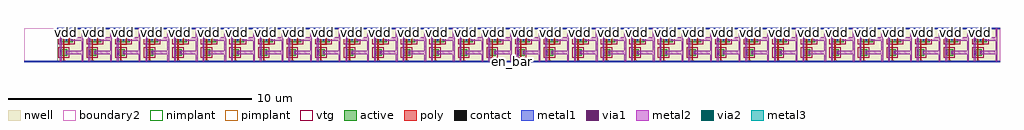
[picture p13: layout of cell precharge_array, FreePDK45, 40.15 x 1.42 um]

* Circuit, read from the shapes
.subckt precharge_array bl_0 bl_1 bl_10 bl_11 bl_12 bl_13 bl_14 bl_15 bl_16 bl_17 bl_18 bl_19 bl_2 bl_20 bl_21 bl_22 bl_23 bl_24 bl_25 bl_26 bl_27 bl_28 bl_29 bl_3 bl_30 bl_31 bl_32 bl_4 bl_5 bl_6 bl_7 bl_8 bl_9 br_0 br_1 br_10 br_11 br_12 br_13 br_14 br_15 br_16 br_17 br_18 br_19 br_2 br_20 br_21 br_22 br_23 br_24 br_25 br_26 br_27 br_28 br_29 br_3 br_30 br_31 br_32 br_4 br_5 br_6 br_7 br_8 br_9 en_bar vdd
M1 br_0 en_bar bl_0 vdd pfet w=0.27u l=0.05u
M2 vdd en_bar bl_0 vdd pfet w=0.27u l=0.05u
M3 br_0 en_bar vdd vdd pfet w=0.27u l=0.05u
M4 br_1 en_bar bl_1 vdd pfet w=0.27u l=0.05u
M5 vdd en_bar bl_1 vdd pfet w=0.27u l=0.05u
M6 br_1 en_bar vdd vdd pfet w=0.27u l=0.05u
M7 br_2 en_bar bl_2 vdd pfet w=0.27u l=0.05u
M8 vdd en_bar bl_2 vdd pfet w=0.27u l=0.05u
M9 br_2 en_bar vdd vdd pfet w=0.27u l=0.05u
M10 br_3 en_bar bl_3 vdd pfet w=0.27u l=0.05u
M11 vdd en_bar bl_3 vdd pfet w=0.27u l=0.05u
M12 br_3 en_bar vdd vdd pfet w=0.27u l=0.05u
M13 br_4 en_bar bl_4 vdd pfet w=0.27u l=0.05u
M14 vdd en_bar bl_4 vdd pfet w=0.27u l=0.05u
M15 br_4 en_bar vdd vdd pfet w=0.27u l=0.05u
M16 br_5 en_bar bl_5 vdd pfet w=0.27u l=0.05u
M17 vdd en_bar bl_5 vdd pfet w=0.27u l=0.05u
M18 br_5 en_bar vdd vdd pfet w=0.27u l=0.05u
M19 br_6 en_bar bl_6 vdd pfet w=0.27u l=0.05u
M20 vdd en_bar bl_6 vdd pfet w=0.27u l=0.05u
M21 br_6 en_bar vdd vdd pfet w=0.27u l=0.05u
M22 br_7 en_bar bl_7 vdd pfet w=0.27u l=0.05u
M23 vdd en_bar bl_7 vdd pfet w=0.27u l=0.05u
M24 br_7 en_bar vdd vdd pfet w=0.27u l=0.05u
M25 br_8 en_bar bl_8 vdd pfet w=0.27u l=0.05u
M26 vdd en_bar bl_8 vdd pfet w=0.27u l=0.05u
M27 br_8 en_bar vdd vdd pfet w=0.27u l=0.05u
M28 br_9 en_bar bl_9 vdd pfet w=0.27u l=0.05u
M29 vdd en_bar bl_9 vdd pfet w=0.27u l=0.05u
M30 br_9 en_bar vdd vdd pfet w=0.27u l=0.05u
M31 br_10 en_bar bl_10 vdd pfet w=0.27u l=0.05u
M32 vdd en_bar bl_10 vdd pfet w=0.27u l=0.05u
M33 br_10 en_bar vdd vdd pfet w=0.27u l=0.05u
M34 br_11 en_bar bl_11 vdd pfet w=0.27u l=0.05u
M35 vdd en_bar bl_11 vdd pfet w=0.27u l=0.05u
M36 br_11 en_bar vdd vdd pfet w=0.27u l=0.05u
M37 br_12 en_bar bl_12 vdd pfet w=0.27u l=0.05u
M38 vdd en_bar bl_12 vdd pfet w=0.27u l=0.05u
M39 br_12 en_bar vdd vdd pfet w=0.27u l=0.05u
M40 br_13 en_bar bl_13 vdd pfet w=0.27u l=0.05u
M41 vdd en_bar bl_13 vdd pfet w=0.27u l=0.05u
M42 br_13 en_bar vdd vdd pfet w=0.27u l=0.05u
M43 br_14 en_bar bl_14 vdd pfet w=0.27u l=0.05u
M44 vdd en_bar bl_14 vdd pfet w=0.27u l=0.05u
M45 br_14 en_bar vdd vdd pfet w=0.27u l=0.05u
M46 br_15 en_bar bl_15 vdd pfet w=0.27u l=0.05u
M47 vdd en_bar bl_15 vdd pfet w=0.27u l=0.05u
M48 br_15 en_bar vdd vdd pfet w=0.27u l=0.05u
M49 br_16 en_bar bl_16 vdd pfet w=0.27u l=0.05u
M50 vdd en_bar bl_16 vdd pfet w=0.27u l=0.05u
M51 br_16 en_bar vdd vdd pfet w=0.27u l=0.05u
M52 br_17 en_bar bl_17 vdd pfet w=0.27u l=0.05u
M53 vdd en_bar bl_17 vdd pfet w=0.27u l=0.05u
M54 br_17 en_bar vdd vdd pfet w=0.27u l=0.05u
M55 br_18 en_bar bl_18 vdd pfet w=0.27u l=0.05u
M56 vdd en_bar bl_18 vdd pfet w=0.27u l=0.05u
M57 br_18 en_bar vdd vdd pfet w=0.27u l=0.05u
M58 br_19 en_bar bl_19 vdd pfet w=0.27u l=0.05u
M59 vdd en_bar bl_19 vdd pfet w=0.27u l=0.05u
M60 br_19 en_bar vdd vdd pfet w=0.27u l=0.05u
M61 br_20 en_bar bl_20 vdd pfet w=0.27u l=0.05u
M62 vdd en_bar bl_20 vdd pfet w=0.27u l=0.05u
M63 br_20 en_bar vdd vdd pfet w=0.27u l=0.05u
M64 br_21 en_bar bl_21 vdd pfet w=0.27u l=0.05u
M65 vdd en_bar bl_21 vdd pfet w=0.27u l=0.05u
M66 br_21 en_bar vdd vdd pfet w=0.27u l=0.05u
M67 br_22 en_bar bl_22 vdd pfet w=0.27u l=0.05u
M68 vdd en_bar bl_22 vdd pfet w=0.27u l=0.05u
M69 br_22 en_bar vdd vdd pfet w=0.27u l=0.05u
M70 br_23 en_bar bl_23 vdd pfet w=0.27u l=0.05u
M71 vdd en_bar bl_23 vdd pfet w=0.27u l=0.05u
M72 br_23 en_bar vdd vdd pfet w=0.27u l=0.05u
M73 br_24 en_bar bl_24 vdd pfet w=0.27u l=0.05u
M74 vdd en_bar bl_24 vdd pfet w=0.27u l=0.05u
M75 br_24 en_bar vdd vdd pfet w=0.27u l=0.05u
M76 br_25 en_bar bl_25 vdd pfet w=0.27u l=0.05u
M77 vdd en_bar bl_25 vdd pfet w=0.27u l=0.05u
M78 br_25 en_bar vdd vdd pfet w=0.27u l=0.05u
M79 br_26 en_bar bl_26 vdd pfet w=0.27u l=0.05u
M80 vdd en_bar bl_26 vdd pfet w=0.27u l=0.05u
M81 br_26 en_bar vdd vdd pfet w=0.27u l=0.05u
M82 br_27 en_bar bl_27 vdd pfet w=0.27u l=0.05u
M83 vdd en_bar bl_27 vdd pfet w=0.27u l=0.05u
M84 br_27 en_bar vdd vdd pfet w=0.27u l=0.05u
M85 br_28 en_bar bl_28 vdd pfet w=0.27u l=0.05u
M86 vdd en_bar bl_28 vdd pfet w=0.27u l=0.05u
M87 br_28 en_bar vdd vdd pfet w=0.27u l=0.05u
M88 br_29 en_bar bl_29 vdd pfet w=0.27u l=0.05u
M89 vdd en_bar bl_29 vdd pfet w=0.27u l=0.05u
M90 br_29 en_bar vdd vdd pfet w=0.27u l=0.05u
M91 br_30 en_bar bl_30 vdd pfet w=0.27u l=0.05u
M92 vdd en_bar bl_30 vdd pfet w=0.27u l=0.05u
M93 br_30 en_bar vdd vdd pfet w=0.27u l=0.05u
M94 br_31 en_bar bl_31 vdd pfet w=0.27u l=0.05u
M95 vdd en_bar bl_31 vdd pfet w=0.27u l=0.05u
M96 br_31 en_bar vdd vdd pfet w=0.27u l=0.05u
M97 br_32 en_bar bl_32 vdd pfet w=0.27u l=0.05u
M98 vdd en_bar bl_32 vdd pfet w=0.27u l=0.05u
M99 br_32 en_bar vdd vdd pfet w=0.27u l=0.05u
.ends

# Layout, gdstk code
import gdstk
lib = gdstk.Library(unit=1e-6, precision=5e-10)
def R(c, l, rs):  # rectangles x0, y0, x1, y1
    for r in rs: c.add(gdstk.rectangle(r[:2], r[2:], *l))
def A(c, l, x, y, w, h, nx, ny, dx, dy):  # array of equal rectangles
    R(c, l, [(x+i*dx, y+j*dy, x+i*dx+w, y+j*dy+h) for i in range(nx) for j in range(ny)])
active = (1, 0)
nwell = (3, 0)
nimplant = (4, 0)
pimplant = (5, 0)
vtg = (6, 0)
poly = (9, 0)
contact = (10, 0)
metal1 = (11, 0)
via1 = (12, 0)
metal2 = (13, 0)
via2 = (14, 0)
metal3 = (15, 0)
boundary2 = (239, 0)

contact_10 = lib.new_cell('contact_10')
R(contact_10, active, [(0,0.0225,0.09,0.1125)])
R(contact_10, nwell, [(-0.055,-0.0325,0.145,0.1675)])
R(contact_10, pimplant, [(0,0.0225,0.09,0.1125)])
R(contact_10, contact, [(0.0125,0.035,0.0775,0.1)])
R(contact_10, metal1, [(0.0125,0,0.0775,0.135)])
R(contact_10, boundary2, [(-0.055,-0.0325,0.145,0.1675)])

pmos_m1_w0_270_sm1_dm1 = lib.new_cell('pmos_m1_w0_270_sm1_dm1')
R(pmos_m1_w0_270_sm1_dm1, active, [(0,0,0.305,0.27)])
R(pmos_m1_w0_270_sm1_dm1, nwell, [(-0.08,-0.08,0.385,0.35)])
R(pmos_m1_w0_270_sm1_dm1, pimplant, [(0,0,0.305,0.27)])
R(pmos_m1_w0_270_sm1_dm1, vtg, [(-0.08,-0.08,0.385,0.35)])
R(pmos_m1_w0_270_sm1_dm1, poly, [(0.1275,-0.055,0.1775,0.325), (0.1275,-0.055,0.1775,0.325)])
R(pmos_m1_w0_270_sm1_dm1, metal1, [(0.0125,0.0675,0.0775,0.2025), (0.2275,0.0675,0.2925,0.2025)])
R(pmos_m1_w0_270_sm1_dm1, boundary2, [(-0.08,-0.08,0.385,0.35)])
pmos_m1_w0_270_sm1_dm1.add(gdstk.Reference(contact_10, (0,0.0675)))
pmos_m1_w0_270_sm1_dm1.add(gdstk.Reference(contact_10, (0.215,0.0675)))
pmos_m1_w0_270_sm1_dm1.add(gdstk.Label('G', (0.1525,0.135), layer=9, texttype=0))
pmos_m1_w0_270_sm1_dm1.add(gdstk.Label('S', (0.045,0.135), layer=11, texttype=0))
pmos_m1_w0_270_sm1_dm1.add(gdstk.Label('D', (0.26,0.135), layer=11, texttype=0))

contact_13 = lib.new_cell('contact_13')
R(contact_13, poly, [(0.03,0,0.105,0.075)])
R(contact_13, contact, [(0.035,0.005,0.1,0.07)])
R(contact_13, metal1, [(0,0.005,0.135,0.07)])
R(contact_13, boundary2, [(0,0,0.135,0.075)])

contact_20 = lib.new_cell('contact_20')
R(contact_20, active, [(0.0225,0,0.1125,0.09)])
R(contact_20, nwell, [(-0.0325,-0.055,0.1675,0.145)])
R(contact_20, nimplant, [(0.0225,0,0.1125,0.09)])
R(contact_20, contact, [(0.035,0.0125,0.1,0.0775)])
R(contact_20, metal1, [(0,0.0125,0.135,0.0775)])
R(contact_20, boundary2, [(-0.0325,-0.055,0.1675,0.145)])

contact_16 = lib.new_cell('contact_16')
R(contact_16, metal1, [(0,0.035,0.135,0.1)])
R(contact_16, via1, [(0.035,0.035,0.1,0.1)])
R(contact_16, metal2, [(0.0325,0,0.1025,0.135)])
R(contact_16, boundary2, [(0,0,0.135,0.135)])

contact_21 = lib.new_cell('contact_21')
R(contact_21, metal1, [(0.0025,0,0.0675,0.135)])
R(contact_21, via1, [(0.0025,0.035,0.0675,0.1)])
R(contact_21, metal2, [(0,0,0.07,0.135)])
R(contact_21, boundary2, [(0,0,0.07,0.135)])

contact_22 = lib.new_cell('contact_22')
R(contact_22, metal2, [(0,0,0.07,0.135)])
R(contact_22, via2, [(0.0025,0.035,0.0675,0.1)])
R(contact_22, metal3, [(0,0,0.07,0.135)])
R(contact_22, boundary2, [(0,0,0.07,0.135)])

precharge_0 = lib.new_cell('precharge_0')
R(precharge_0, nwell, [(0,0,1.175,1.34)])
R(precharge_0, poly, [(0.24,-0.0375,0.29,0.0125), (0.265,-0.0375,0.29,0.0125), (0.24,-0.0125,0.29,0.165), (0.24,0.545,0.29,0.715), (0.24,0.665,0.505,0.715)])
R(precharge_0, metal1, [(0,-0.045,1.175,0.02), (0.34,0.8725,0.405,0.9375), (0.34,0.905,0.405,1.34), (0,1.3075,1.175,1.3725)])
R(precharge_0, metal2, [(0.105,0,0.175,1.34), (0.105,0,0.175,1.34), (1,0,1.07,1.34), (1,0,1.07,1.34), (0.14,0.2875,0.1575,0.4225), (0.3725,0.2875,1.035,0.4225), (0.14,0.8375,0.1575,0.9725), (0.5875,0.8375,1.035,0.9725)])
R(precharge_0, metal3, [(0.3375,1.1175,0.4075,1.2525)])
R(precharge_0, boundary2, [(0,0,1.175,1.34)])
precharge_0.add(gdstk.Reference(pmos_m1_w0_270_sm1_dm1, (0.1125,0.22)))
precharge_0.add(gdstk.Reference(pmos_m1_w0_270_sm1_dm1, (0.1125,0.77)))
precharge_0.add(gdstk.Reference(pmos_m1_w0_270_sm1_dm1, (0.3275,0.77)))
precharge_0.add(gdstk.Reference(contact_13, (0.2225,-0.05)))
precharge_0.add(gdstk.Reference(contact_20, (0.305,1.14)))
precharge_0.add(gdstk.Reference(contact_16, (0.305,1.1175)))
precharge_0.add(gdstk.Reference(contact_21, (0.3375,1.1175)))
precharge_0.add(gdstk.Reference(contact_22, (0.3375,1.1175)))
precharge_0.add(gdstk.Reference(contact_21, (0.1225,0.2875)))
precharge_0.add(gdstk.Reference(contact_21, (0.3375,0.2875)))
precharge_0.add(gdstk.Reference(contact_21, (0.1225,0.8375)))
precharge_0.add(gdstk.Reference(contact_21, (0.5525,0.8375)))
precharge_0.add(gdstk.Label('en_bar', (0.5875,-0.0125), layer=11, texttype=0))
precharge_0.add(gdstk.Label('vdd', (0.3725,1.185), layer=15, texttype=0))
precharge_0.add(gdstk.Label('bl', (0.14,0.67), layer=13, texttype=0))
precharge_0.add(gdstk.Label('br', (1.035,0.67), layer=13, texttype=0))

precharge_array = lib.new_cell('precharge_array')
A(precharge_array, metal1, 1.925, -0.045, 0.065, 0.065, 33, 1, 1.175, 0)
R(precharge_array, metal1, [(0,-0.045,40.145,0.02)])
R(precharge_array, metal2, [(1.475,0,1.545,1.34), (2.37,0,2.44,1.34), (2.65,0,2.72,1.34), (3.545,0,3.615,1.34), (3.825,0,3.895,1.34), (4.72,0,4.79,1.34), (5,0,5.07,1.34), (5.895,0,5.965,1.34), (6.175,0,6.245,1.34), (7.07,0,7.14,1.34), (7.35,0,7.42,1.34), (8.245,0,8.315,1.34), (8.525,0,8.595,1.34), (9.42,0,9.49,1.34), (9.7,0,9.77,1.34), (10.595,0,10.665,1.34), (10.875,0,10.945,1.34), (11.77,0,11.84,1.34), (12.05,0,12.12,1.34), (12.945,0,13.015,1.34), (13.225,0,13.295,1.34), (14.12,0,14.19,1.34), (14.4,0,14.47,1.34), (15.295,0,15.365,1.34), (15.575,0,15.645,1.34), (16.47,0,16.54,1.34), (16.75,0,16.82,1.34), (17.645,0,17.715,1.34), (17.925,0,17.995,1.34), (18.82,0,18.89,1.34), (19.1,0,19.17,1.34), (19.995,0,20.065,1.34), (20.275,0,20.345,1.34), (21.17,0,21.24,1.34), (21.45,0,21.52,1.34), (22.345,0,22.415,1.34), (22.625,0,22.695,1.34), (23.52,0,23.59,1.34), (23.8,0,23.87,1.34), (24.695,0,24.765,1.34), (24.975,0,25.045,1.34), (25.87,0,25.94,1.34), (26.15,0,26.22,1.34), (27.045,0,27.115,1.34), (27.325,0,27.395,1.34), (28.22,0,28.29,1.34), (28.5,0,28.57,1.34), (29.395,0,29.465,1.34), (29.675,0,29.745,1.34), (30.57,0,30.64,1.34), (30.85,0,30.92,1.34), (31.745,0,31.815,1.34), (32.025,0,32.095,1.34), (32.92,0,32.99,1.34), (33.2,0,33.27,1.34), (34.095,0,34.165,1.34), (34.375,0,34.445,1.34), (35.27,0,35.34,1.34), (35.55,0,35.62,1.34), (36.445,0,36.515,1.34), (36.725,0,36.795,1.34), (37.62,0,37.69,1.34), (37.9,0,37.97,1.34), (38.795,0,38.865,1.34), (39.075,0,39.145,1.34), (39.97,0,40.04,1.34)])
A(precharge_array, metal3, 1.7075, 1.1175, 0.07, 0.135, 33, 1, 1.175, 0)
R(precharge_array, boundary2, [(0,0,40.145,1.34)])
precharge_array.add(gdstk.Reference(precharge_0, (1.37,0)))
precharge_array.add(gdstk.Reference(precharge_0, (2.545,0)))
precharge_array.add(gdstk.Reference(precharge_0, (3.72,0)))
precharge_array.add(gdstk.Reference(precharge_0, (4.895,0)))
precharge_array.add(gdstk.Reference(precharge_0, (6.07,0)))
precharge_array.add(gdstk.Reference(precharge_0, (7.245,0)))
precharge_array.add(gdstk.Reference(precharge_0, (8.42,0)))
precharge_array.add(gdstk.Reference(precharge_0, (9.595,0)))
precharge_array.add(gdstk.Reference(precharge_0, (10.77,0)))
precharge_array.add(gdstk.Reference(precharge_0, (11.945,0)))
precharge_array.add(gdstk.Reference(precharge_0, (13.12,0)))
precharge_array.add(gdstk.Reference(precharge_0, (14.295,0)))
precharge_array.add(gdstk.Reference(precharge_0, (15.47,0)))
precharge_array.add(gdstk.Reference(precharge_0, (16.645,0)))
precharge_array.add(gdstk.Reference(precharge_0, (17.82,0)))
precharge_array.add(gdstk.Reference(precharge_0, (18.995,0)))
precharge_array.add(gdstk.Reference(precharge_0, (20.17,0)))
precharge_array.add(gdstk.Reference(precharge_0, (21.345,0)))
precharge_array.add(gdstk.Reference(precharge_0, (22.52,0)))
precharge_array.add(gdstk.Reference(precharge_0, (23.695,0)))
precharge_array.add(gdstk.Reference(precharge_0, (24.87,0)))
precharge_array.add(gdstk.Reference(precharge_0, (26.045,0)))
precharge_array.add(gdstk.Reference(precharge_0, (27.22,0)))
precharge_array.add(gdstk.Reference(precharge_0, (28.395,0)))
precharge_array.add(gdstk.Reference(precharge_0, (29.57,0)))
precharge_array.add(gdstk.Reference(precharge_0, (30.745,0)))
precharge_array.add(gdstk.Reference(precharge_0, (31.92,0)))
precharge_array.add(gdstk.Reference(precharge_0, (33.095,0)))
precharge_array.add(gdstk.Reference(precharge_0, (34.27,0)))
precharge_array.add(gdstk.Reference(precharge_0, (35.445,0)))
precharge_array.add(gdstk.Reference(precharge_0, (36.62,0)))
precharge_array.add(gdstk.Reference(precharge_0, (37.795,0)))
precharge_array.add(gdstk.Reference(precharge_0, (38.97,0)))
precharge_array.add(gdstk.Label('en_bar', (20.0725,-0.0125), layer=11, texttype=0))
precharge_array.add(gdstk.Label('vdd', (15.8425,1.185), layer=15, texttype=0))
precharge_array.add(gdstk.Label('vdd', (24.0675,1.185), layer=15, texttype=0))
precharge_array.add(gdstk.Label('vdd', (28.7675,1.185), layer=15, texttype=0))
precharge_array.add(gdstk.Label('vdd', (7.6175,1.185), layer=15, texttype=0))
precharge_array.add(gdstk.Label('vdd', (32.2925,1.185), layer=15, texttype=0))
precharge_array.add(gdstk.Label('vdd', (38.1675,1.185), layer=15, texttype=0))
precharge_array.add(gdstk.Label('vdd', (21.7175,1.185), layer=15, texttype=0))
precharge_array.add(gdstk.Label('vdd', (20.5425,1.185), layer=15, texttype=0))
precharge_array.add(gdstk.Label('vdd', (22.8925,1.185), layer=15, texttype=0))
precharge_array.add(gdstk.Label('vdd', (34.6425,1.185), layer=15, texttype=0))
precharge_array.add(gdstk.Label('vdd', (39.3425,1.185), layer=15, texttype=0))
precharge_array.add(gdstk.Label('vdd', (5.2675,1.185), layer=15, texttype=0))
precharge_array.add(gdstk.Label('vdd', (17.0175,1.185), layer=15, texttype=0))
precharge_array.add(gdstk.Label('vdd', (2.9175,1.185), layer=15, texttype=0))
precharge_array.add(gdstk.Label('vdd', (8.7925,1.185), layer=15, texttype=0))
precharge_array.add(gdstk.Label('vdd', (9.9675,1.185), layer=15, texttype=0))
precharge_array.add(gdstk.Label('vdd', (26.4175,1.185), layer=15, texttype=0))
precharge_array.add(gdstk.Label('vdd', (14.6675,1.185), layer=15, texttype=0))
precharge_array.add(gdstk.Label('vdd', (29.9425,1.185), layer=15, texttype=0))
precharge_array.add(gdstk.Label('vdd', (18.1925,1.185), layer=15, texttype=0))
precharge_array.add(gdstk.Label('vdd', (35.8175,1.185), layer=15, texttype=0))
precharge_array.add(gdstk.Label('vdd', (25.2425,1.185), layer=15, texttype=0))
precharge_array.add(gdstk.Label('vdd', (31.1175,1.185), layer=15, texttype=0))
precharge_array.add(gdstk.Label('vdd', (36.9925,1.185), layer=15, texttype=0))
precharge_array.add(gdstk.Label('vdd', (11.1425,1.185), layer=15, texttype=0))
precharge_array.add(gdstk.Label('vdd', (13.4925,1.185), layer=15, texttype=0))
precharge_array.add(gdstk.Label('vdd', (6.4425,1.185), layer=15, texttype=0))
precharge_array.add(gdstk.Label('vdd', (12.3175,1.185), layer=15, texttype=0))
precharge_array.add(gdstk.Label('vdd', (33.4675,1.185), layer=15, texttype=0))
precharge_array.add(gdstk.Label('vdd', (19.3675,1.185), layer=15, texttype=0))
precharge_array.add(gdstk.Label('vdd', (4.0925,1.185), layer=15, texttype=0))
precharge_array.add(gdstk.Label('vdd', (27.5925,1.185), layer=15, texttype=0))
precharge_array.add(gdstk.Label('vdd', (1.7425,1.185), layer=15, texttype=0))
precharge_array.add(gdstk.Label('bl_0', (1.51,0.67), layer=13, texttype=0))
precharge_array.add(gdstk.Label('br_0', (2.405,0.67), layer=13, texttype=0))
precharge_array.add(gdstk.Label('bl_1', (2.685,0.67), layer=13, texttype=0))
precharge_array.add(gdstk.Label('br_1', (3.58,0.67), layer=13, texttype=0))
precharge_array.add(gdstk.Label('bl_2', (3.86,0.67), layer=13, texttype=0))
precharge_array.add(gdstk.Label('br_2', (4.755,0.67), layer=13, texttype=0))
precharge_array.add(gdstk.Label('bl_3', (5.035,0.67), layer=13, texttype=0))
precharge_array.add(gdstk.Label('br_3', (5.93,0.67), layer=13, texttype=0))
precharge_array.add(gdstk.Label('bl_4', (6.21,0.67), layer=13, texttype=0))
precharge_array.add(gdstk.Label('br_4', (7.105,0.67), layer=13, texttype=0))
precharge_array.add(gdstk.Label('bl_5', (7.385,0.67), layer=13, texttype=0))
precharge_array.add(gdstk.Label('br_5', (8.28,0.67), layer=13, texttype=0))
precharge_array.add(gdstk.Label('bl_6', (8.56,0.67), layer=13, texttype=0))
precharge_array.add(gdstk.Label('br_6', (9.455,0.67), layer=13, texttype=0))
precharge_array.add(gdstk.Label('bl_7', (9.735,0.67), layer=13, texttype=0))
precharge_array.add(gdstk.Label('br_7', (10.63,0.67), layer=13, texttype=0))
precharge_array.add(gdstk.Label('bl_8', (10.91,0.67), layer=13, texttype=0))
precharge_array.add(gdstk.Label('br_8', (11.805,0.67), layer=13, texttype=0))
precharge_array.add(gdstk.Label('bl_9', (12.085,0.67), layer=13, texttype=0))
precharge_array.add(gdstk.Label('br_9', (12.98,0.67), layer=13, texttype=0))
precharge_array.add(gdstk.Label('bl_10', (13.26,0.67), layer=13, texttype=0))
precharge_array.add(gdstk.Label('br_10', (14.155,0.67), layer=13, texttype=0))
precharge_array.add(gdstk.Label('bl_11', (14.435,0.67), layer=13, texttype=0))
precharge_array.add(gdstk.Label('br_11', (15.33,0.67), layer=13, texttype=0))
precharge_array.add(gdstk.Label('bl_12', (15.61,0.67), layer=13, texttype=0))
precharge_array.add(gdstk.Label('br_12', (16.505,0.67), layer=13, texttype=0))
precharge_array.add(gdstk.Label('bl_13', (16.785,0.67), layer=13, texttype=0))
precharge_array.add(gdstk.Label('br_13', (17.68,0.67), layer=13, texttype=0))
precharge_array.add(gdstk.Label('bl_14', (17.96,0.67), layer=13, texttype=0))
precharge_array.add(gdstk.Label('br_14', (18.855,0.67), layer=13, texttype=0))
precharge_array.add(gdstk.Label('bl_15', (19.135,0.67), layer=13, texttype=0))
precharge_array.add(gdstk.Label('br_15', (20.03,0.67), layer=13, texttype=0))
precharge_array.add(gdstk.Label('bl_16', (20.31,0.67), layer=13, texttype=0))
precharge_array.add(gdstk.Label('br_16', (21.205,0.67), layer=13, texttype=0))
precharge_array.add(gdstk.Label('bl_17', (21.485,0.67), layer=13, texttype=0))
precharge_array.add(gdstk.Label('br_17', (22.38,0.67), layer=13, texttype=0))
precharge_array.add(gdstk.Label('bl_18', (22.66,0.67), layer=13, texttype=0))
precharge_array.add(gdstk.Label('br_18', (23.555,0.67), layer=13, texttype=0))
precharge_array.add(gdstk.Label('bl_19', (23.835,0.67), layer=13, texttype=0))
precharge_array.add(gdstk.Label('br_19', (24.73,0.67), layer=13, texttype=0))
precharge_array.add(gdstk.Label('bl_20', (25.01,0.67), layer=13, texttype=0))
precharge_array.add(gdstk.Label('br_20', (25.905,0.67), layer=13, texttype=0))
precharge_array.add(gdstk.Label('bl_21', (26.185,0.67), layer=13, texttype=0))
precharge_array.add(gdstk.Label('br_21', (27.08,0.67), layer=13, texttype=0))
precharge_array.add(gdstk.Label('bl_22', (27.36,0.67), layer=13, texttype=0))
precharge_array.add(gdstk.Label('br_22', (28.255,0.67), layer=13, texttype=0))
precharge_array.add(gdstk.Label('bl_23', (28.535,0.67), layer=13, texttype=0))
precharge_array.add(gdstk.Label('br_23', (29.43,0.67), layer=13, texttype=0))
precharge_array.add(gdstk.Label('bl_24', (29.71,0.67), layer=13, texttype=0))
precharge_array.add(gdstk.Label('br_24', (30.605,0.67), layer=13, texttype=0))
precharge_array.add(gdstk.Label('bl_25', (30.885,0.67), layer=13, texttype=0))
precharge_array.add(gdstk.Label('br_25', (31.78,0.67), layer=13, texttype=0))
precharge_array.add(gdstk.Label('bl_26', (32.06,0.67), layer=13, texttype=0))
precharge_array.add(gdstk.Label('br_26', (32.955,0.67), layer=13, texttype=0))
precharge_array.add(gdstk.Label('bl_27', (33.235,0.67), layer=13, texttype=0))
precharge_array.add(gdstk.Label('br_27', (34.13,0.67), layer=13, texttype=0))
precharge_array.add(gdstk.Label('bl_28', (34.41,0.67), layer=13, texttype=0))
precharge_array.add(gdstk.Label('br_28', (35.305,0.67), layer=13, texttype=0))
precharge_array.add(gdstk.Label('bl_29', (35.585,0.67), layer=13, texttype=0))
precharge_array.add(gdstk.Label('br_29', (36.48,0.67), layer=13, texttype=0))
precharge_array.add(gdstk.Label('bl_30', (36.76,0.67), layer=13, texttype=0))
precharge_array.add(gdstk.Label('br_30', (37.655,0.67), layer=13, texttype=0))
precharge_array.add(gdstk.Label('bl_31', (37.935,0.67), layer=13, texttype=0))
precharge_array.add(gdstk.Label('br_31', (38.83,0.67), layer=13, texttype=0))
precharge_array.add(gdstk.Label('bl_32', (39.11,0.67), layer=13, texttype=0))
precharge_array.add(gdstk.Label('br_32', (40.005,0.67), layer=13, texttype=0))

lib.write_gds('precharge_array.gds')
